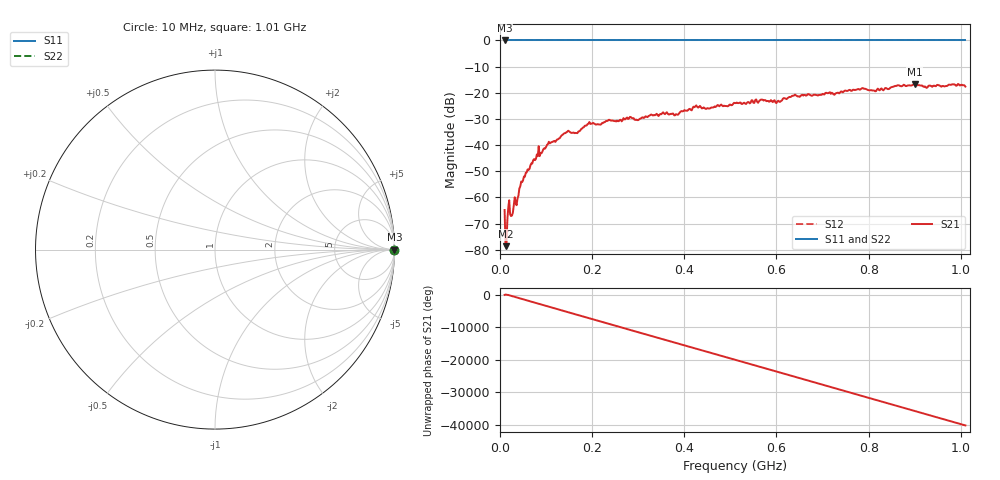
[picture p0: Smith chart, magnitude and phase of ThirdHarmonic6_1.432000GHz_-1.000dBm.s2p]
! 8/16/2025 4:31:19 PM
! C:\ANRITSUVNA\TEMP\TEMP.S2P
! CHANNEL.1
! TR.MEASUREMENT
! RAW.DATA
! RF.CORRECTION.OFF
! AVERAGING.OFF
! IF.BANDWIDTH: 5KHZ
! SWEEPTYPE:  FREQ.SWEEP(Linear)
! Reference Plane Port Info
! PORT:  PORT1  PORT2
! DISTANCE:  0  m  0  m
! TIME:  0  s  0  s
! PHASE.OFFSET:  0  deg.  0  deg.
! LOSS:  0  dB  0  dB
! REF.LOSS:  0  dB  0  dB
! REF.FREQ:  0  Hz  0  Hz
! Power Info
! POWER:  -20  dBm  -20  dBm
! EFF.POWER:  -20  dBm  -20  dBm
! SOURCE.ATTEN:  0  dB  0  dB
! TEST.ATTEN:  0  dB  0  dB
# GHZ S RI R 50.0
! FREQ.GHZ  S11RE  S11IM  S21RE  S21IM  S12RE  S12IM  S22RE  S22IM
!; PortSelection: Port_12
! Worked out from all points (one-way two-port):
!   501 points, 10 MHz to 1.01 GHz, reference 50 ohm
!   highest |S21| = -16.63 dB at 900 MHz (marker M1); lowest = -78.7 dB at 12 MHz (marker M2)
!   lowest |S11| = 0.0 dB at 10 MHz (marker M3)
!   |S11| at or under -10 dB: nowhere
!   |S22| runs from 0.0 to 0.0 dB; largest |S21 - S12| = 1.1
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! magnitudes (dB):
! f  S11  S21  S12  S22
! 10 MHz  0.0  -64.8  0.0  0.0
! 12 MHz  0.0  -78.7  0.0  0.0
! 16 MHz  0.0  -68.5  0.0  0.0
! 20 MHz  0.0  -61.1  0.0  0.0
! 26 MHz  0.0  -67.0  0.0  0.0
! 48 MHz  0.0  -54.2  0.0  0.0
! 80 MHz  0.0  -43.6  0.0  0.0
! 144 MHz  0.0  -35.1  0.0  0.0
! 166 MHz  0.0  -35.4  0.0  0.0
! 178 MHz  0.0  -33.7  0.0  0.0
! 194 MHz  0.0  -31.2  0.0  0.0
! 344 MHz  0.0  -28.9  0.0  0.0
! 382 MHz  0.0  -28.2  0.0  0.0
! 424 MHz  0.0  -25.2  0.0  0.0
! 450 MHz  0.0  -25.9  0.0  0.0
! 510 MHz  0.0  -24.0  0.0  0.0
! 602 MHz  0.0  -23.3  0.0  0.0
! 638 MHz  0.0  -21.1  0.0  0.0
! 678 MHz  0.0  -21.1  0.0  0.0
! 844 MHz  0.0  -18.6  0.0  0.0
! 900 MHz  0.0  -16.6  0.0  0.0
! 1.01 GHz  0.0  -17.6  0.0  0.0
